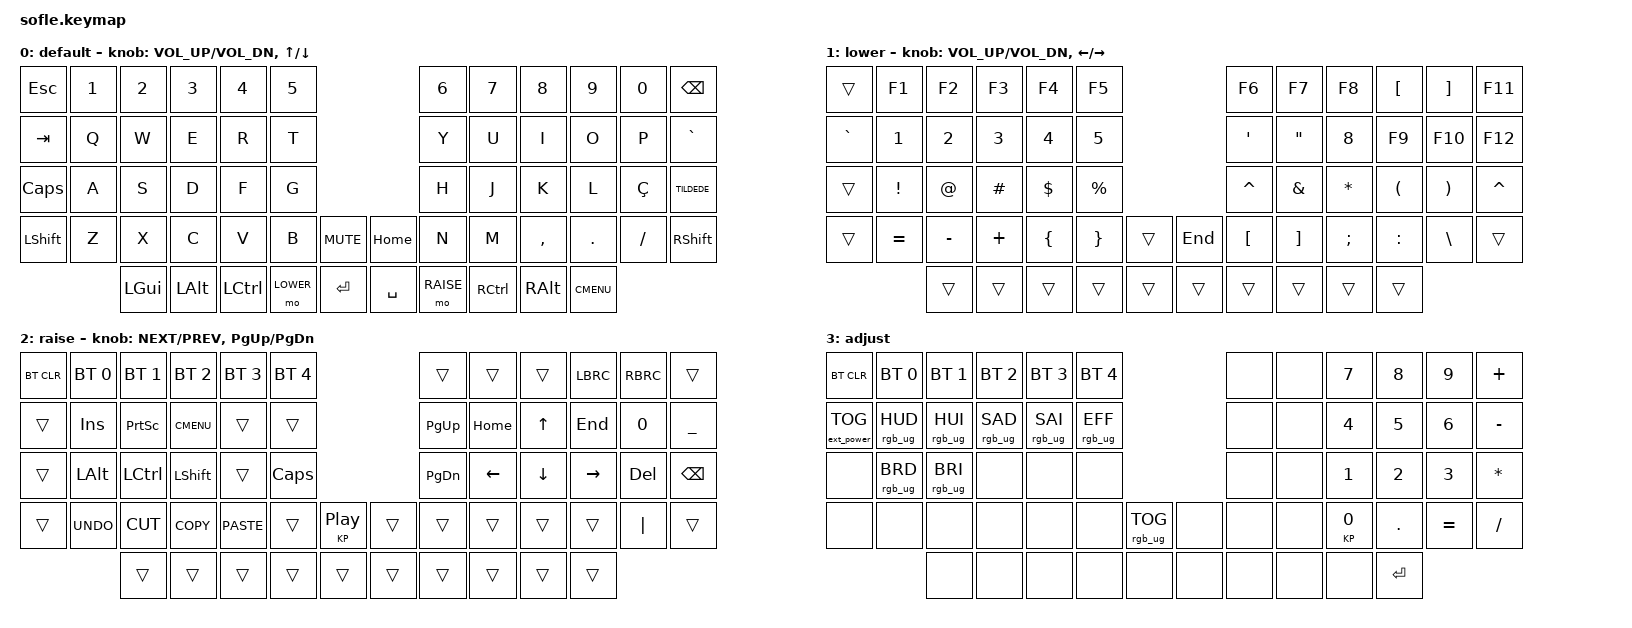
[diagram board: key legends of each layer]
/*
 * Copyright (c) 2020 The ZMK Contributors
 *
 * SPDX-License-Identifier: MIT
 */

#include <behaviors.dtsi>
#include <dt-bindings/zmk/keys.h>
#include <dt-bindings/zmk/bt.h>
#include <dt-bindings/zmk/rgb.h>
#include <dt-bindings/zmk/ext_power.h>

#define BASE 0
#define LOWER 1
#define RAISE 2
#define ADJUST 3

/ {

   // Activate ADJUST layer by pressing raise and lower
    conditional_layers {
        compatible = "zmk,conditional-layers";
        adjust_layer {
            if-layers = <LCTRL LOWER>;
            then-layer = <ADJUST>;
        };
    };

    keymap {
        compatible = "zmk,keymap";

        default_layer {
            display-name = "default";
// ------------------------------------------------------------------------------------------------------------
// |  ESC  |  1  |  2  |  3   |  4   |  5   |                   |  6   |  7    |  8    |  9   |   0   | BKSPC |
// |  TAB  |  Q  |  W  |  E   |  R   |  T   |                   |  Y   |  U    |  I    |  O   |   P   |   ´   |
// |  CAPS  |  A  |  S  |  D   |  F   |  G   |                   |  H   |  J    |  K    |  L   |   Ç   |   ~   |
// | SHIFT |  Z  |  X  |  C   |  V   |  B   |  MUTE  |  |  HOME  |  N   |  M    |  ,    |  .   |   /   | SHIFT |
//               | GUI | ALT  | CTRL | LOWER|  ENTER |  | SPACE | RAISE| CTRL  | ALT   | MENU  |
            bindings = <
&kp ESC &kp N1 &kp N2   &kp N3   &kp N4    &kp N5                           &kp N6 &kp N7    &kp N8    &kp N9   &kp N0   &kp BSPC
&kp TAB   &kp Q  &kp W    &kp E    &kp R     &kp T                            &kp Y  &kp U     &kp I     &kp O    &kp P    &kp GRAVE
&kp CAPS   &kp A  &kp S    &kp D    &kp F     &kp G                            &kp H  &kp J     &kp K     &kp L    &kp Ç    &kp TILDEDE
&kp LSHFT &kp Z  &kp X    &kp C    &kp V     &kp B      &kp C_MUTE &kp HOME   &kp N  &kp M     &kp COMMA &kp DOT  &kp FSLH &kp RSHFT
                 &kp LGUI &kp LALT &kp LCTRL &mo LOWER  &kp RET    &kp SPACE  &mo RAISE  &kp RCTRL &kp RALT  &kp K_CMENU
            >;

            sensor-bindings = <&inc_dec_kp C_VOL_UP C_VOL_DN &inc_dec_kp UP DOWN>;
        };

        lower_layer {
            display-name = "lower";
// TODO: Some binds are waiting for shifted keycode support.
// ------------------------------------------------------------------------------------------------------------
// |       |  F1 |  F2 |  F3  |  F4  |  F5  |                   |  F6  |  F7   |  F8   |  [   |   ]   |  F11  |
// |   `   |  1  |  2  |  3   |  4   |  5   |                   |  '   |  "    |  8    |  F9   |   F10 |  F12  |
// |       |  !  |  @  |  #   |  $   |  %   |                   |  ^   |  &    |  *    |  (   |   )   |   ^   |
// |       |  =  |  -  |  +   |  {   |  }   |        |  |  END  |  [   |  ]    |  ;    |  :   |   \   |       |
//               |     |      |      |      |        |  |       |      |       |       |      |
            bindings = <
&trans    &kp F1    &kp F2    &kp F3      &kp F4    &kp F5                    &kp F6    &kp F7   &kp F8    &kp LBKT    &kp RBKT   &kp F11
&kp GRAVE &kp N1    &kp N2    &kp N3      &kp N4    &kp N5                    &kp APOS    &kp DQT   &kp N8    &kp F9    &kp F10    &kp F12
&trans    &kp EXCL  &kp AT    &kp HASH    &kp DLLR  &kp PRCNT                 &kp CARET &kp AMPS &kp ASTRK &kp LPAR  &kp RPAR  &kp CARET
&trans    &kp EQUAL &kp MINUS &kp PLUS &kp LBRC  &kp RBRC   &trans &kp END  &kp LBKT  &kp RBKT &kp SEMI  &kp COLON &kp BSLH  &trans
                    &trans    &trans      &trans    &trans     &trans &trans  &trans    &trans   &trans    &trans
            >;

            sensor-bindings = <&inc_dec_kp C_VOL_UP C_VOL_DN &inc_dec_kp LEFT RIGHT>;
        };

        raise_layer {
            display-name = "raise";
// ------------------------------------------------------------------------------------------------------------
// | BTCLR | BT1  | BT2  |  BT3  |  BT4  |  BT5 |                |      |      |       |  {   |   }   |       |
// |       | INS  | PSCR | GUI   |       |      |                | PGUP | HOME |   ^   | END  |       |   _   |
// |       | ALT  | CTRL | SHIFT |       | CAPS |                | PGDN |   <- |   v   |  ->  |  DEL  | BKSPC |
// |       | UNDO | CUT  | COPY  | PASTE |      |PLAY_PAUSE||      |      |      |       |      |   |   |       |
//                |      |       |       |      |      |  |      |      |      |       |      |
            bindings = <
&bt BT_CLR &bt BT_SEL 0 &bt BT_SEL 1 &bt BT_SEL 2 &bt BT_SEL 3 &bt BT_SEL 4                  &trans    &trans    &trans   &LBRC    &RBRC  &trans
&trans     &kp INS      &kp PSCRN    &kp K_CMENU  &trans       &trans                        &kp PG_UP &kp HOME    &kp UP   &kp END    &kp N0  &kp UNDER
&trans     &kp LALT     &kp LCTRL    &kp LSHFT    &trans       &kp CLCK                      &kp PG_DN &kp LEFT  &kp DOWN &kp RIGHT &kp DEL &kp BSPC
&trans     &kp K_UNDO   &kp K_CUT    &kp K_COPY   &kp K_PASTE  &trans        &KP C_PP  &trans  &trans    &trans    &trans   &trans    &kp PIPE  &trans
                        &trans       &trans       &trans       &trans        &trans  &trans  &trans    &trans    &trans   &trans
            >;

            sensor-bindings = <&inc_dec_kp K_NEXT K_PREV &inc_dec_kp PG_UP PG_DN>;
        };

        adjust_layer {
// ----------------------------------------------------------------------------------------------------------------------------
// | BTCLR  |  BT1    |  BT2    |   BT3   |   BT4   |   BT5   |                  |      |      |   7   |  8   |   9   |   +   |
// | EXTPWR | RGB_HUD | RGB_HUI | RGB_SAD | RGB_SAI | RGB_EFF |                  |      |      |   4   |  5   |   6   |   -   |
// |        | RGB_BRD | RGB_BRI |         |         |         |                  |      |      |   1   |  2   |   3   |   *   |
// |        |         |         |         |         |         | RGB_TOG | |      |      |      |   0   |  .   |   =   |    /  |
//                    |         |         |         |         |         | |      |      |      |       | ENTER|
            display-name = "adjust";
            bindings = <
&bt BT_CLR        &bt BT_SEL 0    &bt BT_SEL 1    &bt BT_SEL 2    &bt BT_SEL 3    &bt BT_SEL 4                            &none &none &kp N7 &kp N8 &kp N9 &kp PLUS
&ext_power EP_TOG &rgb_ug RGB_HUD &rgb_ug RGB_HUI &rgb_ug RGB_SAD &rgb_ug RGB_SAI &rgb_ug RGB_EFF                         &none &none &kp N4 &kp N5 &kp N6 &kp MINUS
&none             &rgb_ug RGB_BRD &rgb_ug RGB_BRI &none           &none           &none                                   &none &none &kp N1 &kp N2 &kp N3 &kp MULTIPLY
&none             &none           &none           &none           &none           &none            &rgb_ug RGB_TOG &none  &none &none &KP N0 &kp DOT &kp EQUAL &kp DIVIDE
                                  &none           &none           &none           &none            &none           &none  &none &none &none &kp ENTER
            >;
        };

    };
};
